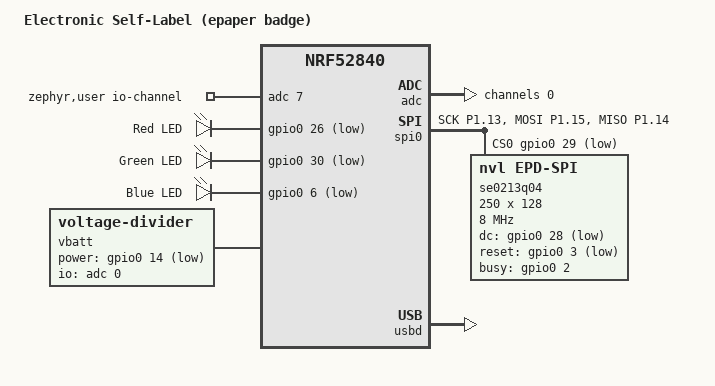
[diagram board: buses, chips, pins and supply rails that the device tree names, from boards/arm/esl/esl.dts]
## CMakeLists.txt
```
cmake_minimum_required(VERSION 3.13.1)

list(APPEND BOARD_ROOT ${CMAKE_CURRENT_LIST_DIR})

# Shortcut to not have to call `west -b`
if (NOT DEFINED ${BOARD})
  set(BOARD esl)
endif()

find_package(Zephyr REQUIRED HINTS $ENV{ZEPHYR_BASE})

project(app)

target_include_directories(app PRIVATE ${CMAKE_BINARY_DIR}/app/include src)

target_sources(app PRIVATE
  src/creep.c
  src/framebuffer.c
  src/main.c)

target_sources_ifdef(CONFIG_UART_EPD app PRIVATE src/epd_serial.c)
target_sources_ifdef(CONFIG_UC8251D  app PRIVATE src/epd_driver.c)
target_sources_ifdef(CONFIG_SPI_NOR  app PRIVATE src/flash.c)
target_sources_ifdef(CONFIG_ADC      app PRIVATE src/adc.c)
```

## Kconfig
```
config UART_EPD
	bool "UART out on (EINK) display"
	default y if SERIAL
	select SERIAL_HAS_DRIVER
	depends on DT_HAS_NVL_EPD_UART_ENABLED
	depends on !CONSOLE_EPD

config UC8251D
	bool "UC8251D display driver"
	default y if DISPLAY
	select DISPLAY_HAS_DRIVER
	select SPI
	depends on DT_HAS_NVL_EPD_SPI_ENABLED

source "Kconfig.zephyr"
```

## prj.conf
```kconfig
CONFIG_LOG_BACKEND_RTT_MODE_OVERWRITE=y
CONFIG_THREAD_MONITOR=y
CONFIG_DEBUG=y

CONFIG_SERIAL=y

# enable display
CONFIG_DISPLAY=y
# CONFIG_DISPLAY_LOG_LEVEL_DBG=y

CONFIG_HEAP_MEM_POOL_SIZE=16384

# CONFIG_LOG_MODE_IMMEDIATE=y
CONFIG_LOG_BUFFER_SIZE=32768
# CONFIG_CFB_LOG_LEVEL_DBG=y
CONFIG_CHARACTER_FRAMEBUFFER=y

# Force printk to go over console
CONFIG_LOG_PRINTK=n
CONFIG_LOG_BACKEND_UART=n

# Enable console on USB UART
CONFIG_CONSOLE=y
CONFIG_UART_CONSOLE=y
CONFIG_RTT_CONSOLE=n

CONFIG_SHELL=y
CONFIG_KERNEL_SHELL=y
CONFIG_SHELL_BACKEND_SERIAL=y
CONFIG_SHELL_BACKEND_SERIAL_INTERRUPT_DRIVEN=n
CONFIG_SHELL_LOG_BACKEND=n

CONFIG_SHELL_VT100_COLORS=n
CONFIG_SHELL_VT100_COMMANDS=y
CONFIG_SHELL_ECHO_STATUS=y
CONFIG_SHELL_DEFAULT_TERMINAL_WIDTH=50
CONFIG_SHELL_DEFAULT_TERMINAL_HEIGHT=10

CONFIG_ASSERT=y
CONFIG_LOG=y
CONFIG_LOG_BACKEND_RTT=y
CONFIG_LOG_BACKEND_SHOW_COLOR=n

CONFIG_INPUT=y
# needs more stack when printk-ing over CDC-ACM
CONFIG_INPUT_THREAD_STACK_SIZE=1024
```

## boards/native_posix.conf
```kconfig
CONFIG_NATIVE_UART_0_ON_OWN_PTY=y

# run exe with `--attach_uart`
CONFIG_UART_NATIVE_WAIT_PTS_READY_ENABLE=y
```

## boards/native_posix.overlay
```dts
/ {
	chosen {
		zephyr,console = &uart0;
		zephyr,shell-uart = &fakeuart;
		zephyr,display = &sdl_dc;
	};

	fakeuart: fake {
		compatible = "nvl,epd-uart";
		status = "okay";
	};
};

&sdl_dc {
	compatible = "zephyr,sdl-dc";
	width = <250>;
	height = <128>;
};
```

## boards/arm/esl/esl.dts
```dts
/dts-v1/;
#include <nordic/nrf52840_qiaa.dtsi>
#include <dt-bindings/input/input-event-codes.h>

/ {
	model = "Electronic Self-Label (epaper badge)";
	compatible = "nordic,esl";

	zephyr,user {
		io-channels = <&adc 7>;
	};

	chosen {
		zephyr,console = &cdc_acm_uart0;
		/* zephyr,console = &fakeuart; */
		zephyr,shell-uart = &fakeuart;
		zephyr,sram = &sram0;
		zephyr,flash = &flash0;
		zephyr,code-partition = &slot0_partition;
		zephyr,display = &se0213q04;
	};

	leds {
		compatible = "gpio-leds";
		status = "okay";
		led0: led_0 {
			gpios = <&gpio0 26 GPIO_ACTIVE_LOW>;
			label = "Red LED";
		};
		led1: led_1 {
			gpios = <&gpio0 30 GPIO_ACTIVE_LOW>;
			label = "Green LED";
		};
		led2: led_2 {
			gpios = <&gpio0 6 GPIO_ACTIVE_LOW>;
			label = "Blue LED";
		};
	};

	fakeuart: fake {
		compatible = "nvl,epd-uart";
		status = "okay";
	};

	vbatt {
		compatible = "voltage-divider";
		io-channels = <&adc 0>;
		output-ohms = <40000>;
		full-ohms = <(27000 + 40000)>;
		power-gpios = <&gpio0 14 GPIO_ACTIVE_LOW>;
	};

	aliases {
		led0 = &led0;
		led1 = &led1;
		led2 = &led2;
		bootloader-led0 = &led0;
		mcuboot-led0 = &led0;
		watchdog0 = &wdt0;
	};
};

&adc {
	status = "okay";

	#address-cells = <1>;
	#size-cells = <0>;

	channel@0 {
		reg = <0>;
		zephyr,gain = "ADC_GAIN_1_6";
		zephyr,reference = "ADC_REF_INTERNAL";
		zephyr,acquisition-time = <ADC_ACQ_TIME_DEFAULT>;
		zephyr,input-positive = <NRF_SAADC_AIN7>;
		zephyr,resolution = <12>;
	};
};

&gpio0 {
	status = "okay";
};

&gpio1 {
	status = "okay";
};

&uart0 {
	/* Disable UART, it isn't connected */
	status = "disabled";
};

&pinctrl {
	spi0_default: spi0_default {
		group1 {
			psels = <NRF_PSEL(SPIM_SCK, 1, 13)>,
				<NRF_PSEL(SPIM_MOSI, 1, 15)>,
				<NRF_PSEL(SPIM_MISO, 1, 14)>;
		};
	};

	spi0_sleep: spi0_sleep {
		group1 {
			psels = <NRF_PSEL(SPIM_SCK, 1, 13)>,
				<NRF_PSEL(SPIM_MOSI, 1, 15)>,
				<NRF_PSEL(SPIM_MISO, 1, 14)>;
			low-power-enable;
		};
	};
};

&spi0 {
	status = "okay";
	/* SPIM broken in upstream. tested ~3mo ago and it works */
	compatible = "nordic,nrf-spi";

	pinctrl-0 = <&spi0_default>;
	pinctrl-1 = <&spi0_sleep>;
	pinctrl-names = "default", "sleep";

	cs-gpios = <&gpio0 29 GPIO_ACTIVE_LOW>;

	se0213q04: epd@0 {
		reg = <0>;
		spi-max-frequency = <8000000>;
		compatible = "nvl,epd-spi";
		width = <250>;
		height = <128>;
        // FIXME: those are hardcoded in utils.h rn
		dc-gpios = <&gpio0 28 GPIO_ACTIVE_LOW>;
		reset-gpios = <&gpio0 3 GPIO_ACTIVE_LOW>;
		busy-gpios = <&gpio0 2 GPIO_ACTIVE_HIGH>;
	};
};

zephyr_udc0: &usbd {
	compatible = "nordic,nrf-usbd";
	status = "okay";

	cdc_acm_uart0: cdc_acm_uart0 {
		compatible = "zephyr,cdc-acm-uart";
	};
};

&flash0 {
	partitions {
		compatible = "fixed-partitions";
		#address-cells = <1>;
		#size-cells = <1>;

		boot_partition: partition@0 {
			label = "mcuboot";
			reg = <0x00000000 0xC000>;
		};
		slot0_partition: partition@C000 {
			label = "image-0";
			reg = <0x0000C000 0x17000>;
		};
		slot1_partition: partition@23000 {
			label = "image-1";
			reg = <0x00023000 0x17000>;
		};
		storage_partition: partition@3a000 {
			label = "storage";
			reg = <0x0003a000 0x00006000>;
		};
	};
};
```

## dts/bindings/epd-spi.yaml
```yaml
description: |
    Temporary SPI epaper bindings

compatible: "nvl,epd-spi"

include: [spi-device.yaml, display-controller.yaml]

properties:
  reset-gpios:
    type: phandle-array
    required: true
    description: RESET pin.

  dc-gpios:
    type: phandle-array
    required: true
    description: Data/Command pin.

  busy-gpios:
    type: phandle-array
    required: true
    description: BUSY pin. Active low.
```

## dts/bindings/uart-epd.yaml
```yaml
description: |
    Fake UART output on e-ink display

compatible: "nvl,epd-uart"

include: [uart-controller.yaml]
```

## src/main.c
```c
#include <zephyr/kernel.h>
#include <zephyr/sys/printk.h>
#include <zephyr/usb/usb_device.h>
#include <zephyr/usb/usbd.h>
#include <zephyr/input/input.h>
#include <zephyr/drivers/led.h>

#include "framebuffer.h"

#include <zephyr/logging/log.h>
LOG_MODULE_REGISTER(main, 4);

void setup_usb(void)
{
#if CONFIG_USB_DEVICE_STACK
	const struct device *dev = DEVICE_DT_GET_ONE(zephyr_cdc_acm_uart);
	if (!device_is_ready(dev)) {
		LOG_ERR("CDC ACM device not ready");
		return;
	}

	int ret = usb_enable(NULL);
	if (ret != 0) {
		LOG_ERR("Failed to enable USB: %d", ret);
		return;
	}
#endif
}

static void input_cb(struct input_event *evt)
{
	/* Don't do anything for now */
	printk("sync %u type %u code 0x%x value %d\n",
	       evt->sync, evt->type, evt->code, evt->value);
}

/* Invoke callback for all input devices */
INPUT_CALLBACK_DEFINE(NULL, input_cb);

void led_test(void)
{
#define LEDS_NODE_ID DT_COMPAT_GET_ANY_STATUS_OKAY(gpio_leds)

	if (IS_ENABLED(CONFIG_NATIVE_APPLICATION)) {
		return;
	}

	const char *led_label[] = {
	DT_FOREACH_CHILD_SEP_VARGS(LEDS_NODE_ID, DT_PROP_OR, (,), label, NULL)};

	const int num_leds = ARRAY_SIZE(led_label);

	const struct device *leds;

	leds = DEVICE_DT_GET(LEDS_NODE_ID);
	if (!device_is_ready(leds)) {
		LOG_ERR("Device %s is not ready", leds->name);
		return;
	}

	if (!num_leds) {
		LOG_ERR("No LEDs found for %s", leds->name);
		return;
	}

	/* Turn on all LEDs */
	for (uint8_t led = 0; led < num_leds; led++) {
		LOG_INF("turn on LED %d", led);
		led_on(leds, led);
		k_msleep(300);
		led_off(leds, led);
	}
}

extern int flashtest(void);
extern int testbatt(void);

static void init_gpio(void)
{
#if !defined(CONFIG_NATIVE_APPLICATION)
	/* TODO: use DTS */
	NRF_P0->DIRSET = BIT(31);
	NRF_P0->OUTSET = BIT(31);
#endif
}

int main(void)
{
	if (IS_ENABLED(CONFIG_ADC)) {
		init_gpio();
		testbatt();
	}

	if (IS_ENABLED(CONFIG_SPI_NOR)) {
		flashtest();
	}

	led_test();

	setup_usb();

	const struct device *dev =
		DEVICE_DT_GET(DT_CHOSEN(zephyr_display));

	framebuffer_setup(dev);

	printk("entering main loop\n");

	/* framebuffer rendering loop */
	while (1) {
		framebuffer_update(dev);
	}

	return 0;
}
```

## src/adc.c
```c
/*
 * Copyright (c) 2020 Libre Solar Technologies GmbH
 *
 * SPDX-License-Identifier: Apache-2.0
 */

#include <inttypes.h>
#include <stddef.h>
#include <stdint.h>

#include <zephyr/device.h>
#include <zephyr/devicetree.h>
#include <zephyr/drivers/adc.h>
#include <zephyr/kernel.h>
#include <zephyr/sys/util.h>

#include <zephyr/logging/log.h>
LOG_MODULE_REGISTER(adece, 4);

#if !DT_NODE_EXISTS(DT_PATH(zephyr_user)) || \
	!DT_NODE_HAS_PROP(DT_PATH(zephyr_user), io_channels)
#error "No suitable devicetree overlay specified"
#endif

#define DT_SPEC_AND_COMMA(node_id, prop, idx) \
	ADC_DT_SPEC_GET_BY_IDX(node_id, idx),

/* Data of ADC io-channels specified in devicetree. */
static const struct adc_dt_spec adc_channels[] = {
	DT_FOREACH_PROP_ELEM(DT_PATH(zephyr_user), io_channels,
			     DT_SPEC_AND_COMMA)
};

int testbatt(void)
{
	int err;
	uint32_t count = 0;
	uint16_t buf;
	struct adc_sequence sequence = {
		.buffer = &buf,
		/* buffer size in bytes, not number of samples */
		.buffer_size = sizeof(buf),
	};

	/* Configure channels individually prior to sampling. */
	for (size_t i = 0U; i < ARRAY_SIZE(adc_channels); i++) {
		if (!adc_is_ready_dt(&adc_channels[i])) {
			LOG_INF("ADC controller device %s not ready", adc_channels[i].dev->name);
			return 0;
		}

		err = adc_channel_setup_dt(&adc_channels[i]);
		if (err < 0) {
			LOG_INF("Could not setup channel #%d (%d)", i, err);
			return 0;
		}
	}

	while (1) {
		LOG_INF("ADC reading[%u]:", count++);
		for (size_t i = 0U; i < ARRAY_SIZE(adc_channels); i++) {
			int32_t val_mv;

			LOG_INF("- %s, channel %d: ",
			       adc_channels[i].dev->name,
			       adc_channels[i].channel_id);

			(void)adc_sequence_init_dt(&adc_channels[i], &sequence);

			err = adc_read(adc_channels[i].dev, &sequence);
			if (err < 0) {
				LOG_INF("Could not read (%d)", err);
				continue;
			}

			/*
			 * If using differential mode, the 16 bit value
			 * in the ADC sample buffer should be a signed 2's
			 * complement value.
			 */
			if (adc_channels[i].channel_cfg.differential) {
				val_mv = (int32_t)((int16_t)buf);
			} else {
				val_mv = (int32_t)buf;
			}
			LOG_INF("%"PRId32, val_mv);
			err = adc_raw_to_millivolts_dt(&adc_channels[i],
						       &val_mv);
			/* conversion to mV may not be supported, skip if not */
			if (err < 0) {
				LOG_INF(" (value in mV not available)");
			} else {
				LOG_INF(" = %"PRId32" mV", val_mv);
			}
		}

		k_sleep(K_MSEC(1000));
	}
	return 0;
}
```

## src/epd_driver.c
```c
#define DT_DRV_COMPAT nvl_epd_spi

#include "epd_main.h"
#include "epd_lut.h"
#include "epd_regs.h"
#include "splash.h"
#include "utils.h"
#include <zephyr/device.h>
#include <zephyr/drivers/display.h>
#include <zephyr/drivers/spi.h>
#include <zephyr/drivers/gpio.h>
#include <nrf.h>

#include <zephyr/logging/log.h>
LOG_MODULE_REGISTER(epd, CONFIG_DISPLAY_LOG_LEVEL);

void epd_write_cmd(uint8_t command);
void epd_write_data(uint8_t data);

#define EPD_WIDTH   128UL
#define EPD_HEIGHT  250UL
#define IMG_BYTES (EPD_WIDTH * EPD_HEIGHT / 8)

static void load_lut_full(void);
static void load_lut_partial(void);
void epd_init(void);
void epd_display_full(const uint8_t* picData);
void epd_display_partial(const uint8_t* picData);
void epd_dsleep(void);
void epd_refresh(void);
void epd_reset(void);

static uint8_t first_image;
static bool blanking;
/* static uint8_t framebuffer[EPD_HEIGHT][EPD_WIDTH/8]; */
static uint8_t framebuffer[EPD_HEIGHT * EPD_WIDTH / 8];

/* using on-board LUTs doesn't work */
/* #define LUT_OTP */

void epd_reset(void)
{
	mgpio_set(DISP_RESET);
	delay_ms(10);

	mgpio_reset(DISP_RESET);
	delay_ms(100);

	mgpio_set(DISP_RESET);
	delay_ms(100);
}

void write_cdi(bool boot)
{
	uint8_t val = boot ? 0xB7 : 0xD7;

	epd_write_cmd(EPD_CMD_CDI);
	epd_write_data(val);
}

void epd_init(void)
{
	uint8_t value;

	first_image = 1;

	epd_write_cmd(EPD_CMD_PSR);
	value = BIT(EPD_PSR_RST_N) |
		BIT(EPD_PSR_SHD_N) |
		/* uncomment to rotate 180deg */
		/* BIT(EPD_PSR_SHL) | */
		/* BIT(EPD_PSR_UD) | */
		BIT(EPD_PSR_KWR) |
		BIT(EPD_PSR_RES0) |
		BIT(EPD_PSR_RES1) ;
#ifndef LUT_OTP
	value |= BIT(EPD_PSR_REG);
#endif
	epd_write_data(value);

	epd_write_cmd(EPD_CMD_PWR);
	epd_write_data(BIT(EPD_PWR_VG_EN) | BIT(EPD_PWR_VS_EN));
	epd_write_data(0x00); /* 20V (default) */
	epd_write_data(0x3F); /* 15V (default) */
	epd_write_data(0x3F); /* 15V (default) */
	epd_write_data(0x03); /* 3V (value shouldn't matter) */

	epd_write_cmd(EPD_CMD_BTST);
	/* phase A & B:
	 * - 6.58uS off time
	 * - strength 5
	 * - 40ms soft-start
	 */
	epd_write_data(0x27);
	epd_write_data(0x27);
	/* phase C:
	 * - 6.58us off time
	 * - strength 6
	 */
	epd_write_data(0x2F);

	epd_write_cmd(EPD_CMD_TRES);
	epd_write_data(EPD_WIDTH);
	epd_write_data(0);
	epd_write_data(EPD_HEIGHT);

	epd_write_cmd(EPD_CMD_GSST);
	epd_write_data(0x00);
	epd_write_data(0x00);
	epd_write_data(0x00);

	write_cdi(true);
}

void epd_display_full(const uint8_t* picData)
{
	epd_write_cmd(EPD_CMD_DTM2);
	epd_write_data_stream((uint8_t*)picData, IMG_BYTES);

	load_lut_full();
	epd_refresh();

	if(first_image) {
		first_image = 0;
		write_cdi(false);
	}
}

void epd_display_partial(const uint8_t* picData)
{
	if(first_image) {
		epd_display_full(picData);
		/* one full refresh is necessary after boot */
		return;
	}

	int64_t t0 = k_uptime_get();
	epd_write_cmd(EPD_CMD_DTM2);
	epd_write_data_stream((uint8_t*)picData, IMG_BYTES);
	int64_t t1 = k_uptime_get();

	load_lut_partial();
	int64_t t2 = k_uptime_get();
	epd_refresh();
	LOG_DBG("data %lldms lut %lldms refresh %lldms", t1-t0, t2-t1, k_uptime_get()-t2);
}

void epd_refresh(void)
{
	epd_write_cmd(EPD_CMD_AUTO);
	epd_write_data(EPD_CMD_ON_REFRESH_OFF);

	while(mgpio_read(DISP_BUSY) == 0) {
		/* around 500ms in partial refresh, >1s for full refresh */
		k_msleep(10);
	}
}

void epd_dsleep(void)
{
	epd_write_cmd (EPD_CMD_DSLP);
	epd_write_data(EPD_DSLP_MAGIC);
}

static void write_lut(uint8_t const **p_lut)
{
	static bool swap = false;
	uint8_t LUT_LEN = 56;

#ifdef LUT_OTP
	return;
#endif

	epd_write_cmd(EPD_CMD_LUTC);
	epd_write_data_stream(p_lut[0], LUT_LEN);

	epd_write_cmd(EPD_CMD_LUTWW);
	epd_write_data_stream(p_lut[1], LUT_LEN);

	epd_write_cmd(EPD_CMD_LUTK);
	epd_write_data_stream(p_lut[4], LUT_LEN);

	if (!swap || first_image) {
		swap = true;

		epd_write_cmd(EPD_CMD_LUTKW);
		epd_write_data_stream(p_lut[2], LUT_LEN);

		epd_write_cmd(EPD_CMD_LUTWK);
		epd_write_data_stream(p_lut[3], LUT_LEN);
	} else {
		swap = false;

		epd_write_cmd(EPD_CMD_LUTWK);
		epd_write_data_stream(p_lut[2], LUT_LEN);

		epd_write_cmd(EPD_CMD_LUTKW);
		epd_write_data_stream(p_lut[3], LUT_LEN);
	}
}

static void load_lut_full(void)
{
	uint8_t const *p_lut_gc[5] = {lut_R20_GC, lut_R21_GC, lut_R22_GC, lut_R23_GC, lut_R24_GC};
	write_lut(p_lut_gc);
}

static void load_lut_partial(void)
{
	uint8_t const *p_lut_du[5] = {lut_R20_DU, lut_R21_DU, lut_R22_DU, lut_R23_DU, lut_R24_DU};
	write_lut(p_lut_du);
}

void epd_write_cmd(uint8_t command)
{
	mgpio_reset(DISP_DC);		/* command */
	mspi_write_byte(command);
	mgpio_set(DISP_DC);
}

void epd_write_data(uint8_t data)
{
	mgpio_set(DISP_DC);		/* data */
	mspi_write_byte(data);
	mgpio_set(DISP_DC);
}

void epd_write_data_stream(const uint8_t *data, size_t len)
{
	#define CHUNK 256
	mgpio_set(DISP_DC);		/* data */
	for (size_t i=0; i<len; ) {
		size_t clen = MIN(CHUNK, len-i);
		mspi_write_buf((uint8_t *)data + i, clen);
		i+=clen;
	}
	mgpio_set(DISP_DC);
}

static int epd_read(const struct device *dev, const uint16_t x, const uint16_t y,
		    const struct display_buffer_descriptor *desc, void *buf)
{
	LOG_ERR("not supported");
	return -ENOTSUP;
}

static void *epd_get_framebuffer(const struct device *dev)
{
	LOG_ERR("not supported");
	return NULL;
}

static int epd_set_brightness(const struct device *dev,
			      const uint8_t brightness)
{
	LOG_WRN("not supported");
	return -ENOTSUP;
}

static int epd_set_contrast(const struct device *dev, uint8_t contrast)
{
	LOG_WRN("not supported");
	return -ENOTSUP;
}

static int epd_set_orientation(const struct device *dev,
			       const enum display_orientation
			       orientation)
{
	LOG_ERR("Unsupported");
	return -ENOTSUP;
}

static int epd_set_pixel_format(const struct device *dev,
				const enum display_pixel_format pf)
{
	if (pf == PIXEL_FORMAT_MONO10) {
		return 0;
	}

	LOG_ERR("not supported");
	return -ENOTSUP;
}

/* EPD seems to use !blanking as `partial refresh` as a convention in zephyr */
static int epd_blanking_off(const struct device *dev)
{
	blanking = false;

	return 0;
}

static int epd_blanking_on(const struct device *dev)
{
	blanking = true;

	return 0;
}

void writeOutPixel(uint8_t *buf, uint32_t x, uint32_t y)
{
    uint32_t p = EPD_WIDTH * y + x;
    buf[p / 8] |= BIT((p & 0x7U));
}

static int epd_write(const struct device *dev, const uint16_t x, const uint16_t y,
		     const struct display_buffer_descriptor *desc,
		     const void *buf)
{
	/* x/y: start of buffer, upper left corner */
	/* TODO: bounds checking */
	/* uint16_t x_end = x + desc->width - 1; */
	/* uint16_t y_end = y + desc->height - 1; */

	LOG_DBG("x %u, y %u, height %u, width %u, pitch %u size %u",
		x, y, desc->height, desc->width, desc->pitch, desc->buf_size);

	__ASSERT(desc->height <= desc->pitch, "Pitch is smaller than width");
	/* lazy. TODO: support partial updates with framebuffer AND with direct write */
	__ASSERT_NO_MSG(desc->width == EPD_HEIGHT);
	__ASSERT_NO_MSG(desc->height == EPD_WIDTH);

	int64_t start = k_uptime_get();
	/* This way we only have to use the OR operation to draw the image */
	memset(framebuffer, 0, sizeof(framebuffer));

	uint8_t const *input = buf;

	/* Transform buffer from landscape V-aligned to portrait H-aligned */
	for (int y=0; y<desc->height; y++) {
		for (int x=0; x<desc->width; x++) {
			uint32_t dy = x;
			uint32_t dx = (desc->height-1) - y;
			if (input[(desc->width) * (y / 8) + x] & BIT((y & 0x7)))
				writeOutPixel(framebuffer, dx, dy);
		}
	}

	int64_t end = k_uptime_get();

	/* LOG_HEXDUMP_WRN(buf, 4000, "buf"); */
	/* LOG_HEXDUMP_WRN(framebuffer, sizeof(framebuffer), "fb"); */

	LOG_DBG("start HW write");
	if (!blanking) {
		epd_display_partial((uint8_t*)framebuffer);
	} else {
		epd_display_full((uint8_t*)framebuffer);
	}
	LOG_DBG("end HW write");
	LOG_DBG("transform %lldms send %lldms", end-start, k_uptime_get()-end);

	return 0;
}

static void epd_get_capabilities(const struct device *dev,
				 struct display_capabilities *caps)
{
	memset(caps, 0, sizeof(struct display_capabilities));
	caps->x_resolution = EPD_HEIGHT;
	caps->y_resolution = EPD_WIDTH;
	caps->supported_pixel_formats = PIXEL_FORMAT_MONO10;
	caps->current_pixel_format = PIXEL_FORMAT_MONO10;
	/* caps->screen_info = SCREEN_INFO_EPD; */
	caps->screen_info = SCREEN_INFO_MONO_MSB_FIRST | SCREEN_INFO_EPD;
	/* CFB module requires SCREEN_INFO_MONO_VTILED to be set to draw text.
	 * This is actually not the case for us, we are HTILED. This forces us
	 * to do extra work and change the orientation on the fly at the time of
	 * write. TODO: fix this upstream.
	 */
	caps->screen_info |= SCREEN_INFO_MONO_VTILED;
}

static struct display_driver_api epd_driver_api = {
	.blanking_on = epd_blanking_on,
	.blanking_off = epd_blanking_off,
	.write = epd_write,
	.read = epd_read,
	.get_framebuffer = epd_get_framebuffer,
	.set_brightness = epd_set_brightness,
	.set_contrast = epd_set_contrast,
	.get_capabilities = epd_get_capabilities,
	.set_pixel_format = epd_set_pixel_format,
	.set_orientation = epd_set_orientation,
};

static void init_gpio(void)
{
	uint32_t outputs = BIT(DISP_DC) | BIT(DISP_RESET);
	uint32_t inputs = BIT(DISP_BUSY);

	NRF_P0->DIRSET = outputs;
	NRF_P0->DIRCLR = inputs;

	/* connect input buffer */
	NRF_P0->PIN_CNF[DISP_BUSY] = 0;
}

#define SPI_OP SPI_OP_MODE_MASTER | SPI_MODE_CPOL | SPI_MODE_CPHA | SPI_WORD_SET(8) | SPI_LINES_SINGLE

const struct spi_dt_spec spi_dev = SPI_DT_SPEC_GET(DT_NODELABEL(se0213q04), SPI_OP, 0);

static void init_spi(void)
{
	if(spi_is_ready_dt(&spi_dev)) {
		LOG_INF("spi initialized");
	} else {
		LOG_ERR("spi not initialized");
		k_panic();
	}
}

void mspi_write_byte(uint8_t byte)
{
	uint8_t buf[1] = {byte};
	const struct spi_buf tx = {.buf = buf, .len = 1};
	const struct spi_buf_set tx_bufs = {.buffers = &tx, .count = 1};

	int err = spi_transceive_dt(&spi_dev, &tx_bufs, NULL);
	if (err) {
		LOG_ERR("SPI transfer failed: %d", err);
		k_panic();
	}
}

void mspi_write_buf(uint8_t *buf, size_t len)
{
	const struct spi_buf tx = {.buf = buf, .len = len};
	const struct spi_buf_set tx_bufs = {.buffers = &tx, .count = 1};

	int err = spi_transceive_dt(&spi_dev, &tx_bufs, NULL);
	if (err) {
		LOG_ERR("SPI transfer failed: %d", err);
		k_panic();
	}
}

static int display_driver_init(const struct device *dev)
{
	ARG_UNUSED(dev);

	init_gpio();
	init_spi();

	epd_reset();
	epd_init();

	return 0;
}

/* TODO:
 * - allow multiple instances
 * - put device on bus
 * - use DTS for config/gpio
 */
DEVICE_DT_INST_DEFINE(0, &display_driver_init,
		      NULL, NULL, NULL,
		      POST_KERNEL, CONFIG_DISPLAY_INIT_PRIORITY,
		      &epd_driver_api);
```

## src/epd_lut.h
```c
#ifndef EPD_LUT_H_
#define EPD_LUT_H_

const unsigned char lut_R20_GC[] = // VCOM 108=80bytes
{
0x01,	0x00,	0x14,	0x14,	0x01,	0x01,	0x00,	0x01,
0x00,	0x00,	0x00,	0x00,	0x00,	0x00,	0x00,	0x00,
0x00,	0x00,	0x00,	0x00,	0x00,	0x00,	0x00,	0x00,
0x00,	0x00,	0x00,	0x00,	0x00,	0x00,	0x00,	0x00,
0x00,	0x00,	0x00,	0x00,	0x00,	0x00,	0x00,	0x00,
0x00,	0x00,	0x00,	0x00,	0x00,	0x00,	0x00,	0x00,
0x00,	0x00,	0x00,	0x00,	0x00,	0x00,	0x00,	0x00,
};
const unsigned char  lut_R21_GC[] = // W2W 78=56bytes
{
0x01,	0x60,	0X14,	0x14,	0x01,	0x01,	0x00,	0x01,
0x00,	0x00,	0x00,	0x00,	0x00,	0x00,	0x00,	0x00,
0x00,	0x00,	0x00,	0x00,	0x00,	0x00,	0x00,	0x00,
0x00,	0x00,	0x00,	0x00,	0x00,	0x00,	0x00,	0x00,
0x00,	0x00,	0x00,	0x00,	0x00,	0x00,	0x00,	0x00,
0x00,	0x00,	0x00,	0x00,	0x00,	0x00,	0x00,	0x00,
0x00,	0x00,	0x00,	0x00,	0x00,	0x00,	0x00,	0x00,
};

const unsigned char  lut_R22_GC[] = // B2W 108=80bytes
{
0x01,	0x60,	0X14,	0X14,	0x01,	0x01,	0x00,	0x01,
0x00,	0x00,	0x00,	0x00,	0x00,	0x00,	0x00,	0x00,
0x00,	0x00,	0x00,	0x00,	0x00,	0x00,	0x00,	0x00,
0x00,	0x00,	0x00,	0x00,	0x00,	0x00,	0x00,	0x00,
0x00,	0x00,	0x00,	0x00,	0x00,	0x00,	0x00,	0x00,
0x00,	0x00,	0x00,	0x00,	0x00,	0x00,	0x00,	0x00,
0x00,	0x00,	0x00,	0x00,	0x00,	0x00,	0x00,	0x00,
};
const unsigned char  lut_R23_GC[] = // W2B 108=80bytes
{
0x01,	0x90,	0X14,	0X14,	0x01,	0x01,	0x00,	0x01,
0x00,	0x00,	0x00,	0x00,	0x00,	0x00,	0x00,	0x00,
0x00,	0x00,	0x00,	0x00,	0x00,	0x00,	0x00,	0x00,
0x00,	0x00,	0x00,	0x00,	0x00,	0x00,	0x00,	0x00,
0x00,	0x00,	0x00,	0x00,	0x00,	0x00,	0x00,	0x00,
0x00,	0x00,	0x00,	0x00,	0x00,	0x00,	0x00,	0x00,
0x00,	0x00,	0x00,	0x00,	0x00,	0x00,	0x00,	0x00,
};
const unsigned char  lut_R24_GC[] = // B2B 108=80bytes
{
0x01,	0x90,	0X14,	0X14,	0x01,	0x01,	0x00,	0x01,
0x00,	0x00,	0x00,	0x00,	0x00,	0x00,	0x00,	0x00,
0x00,	0x00,	0x00,	0x00,	0x00,	0x00,	0x00,	0x00,
0x00,	0x00,	0x00,	0x00,	0x00,	0x00,	0x00,	0x00,
0x00,	0x00,	0x00,	0x00,	0x00,	0x00,	0x00,	0x00,
0x00,	0x00,	0x00,	0x00,	0x00,	0x00,	0x00,	0x00,
0x00,	0x00,	0x00,	0x00,	0x00,	0x00,	0x00,	0x00,
};


// DU 300ms
const unsigned char lut_R20_DU[] = // VCOM 108=80bytes
{
0x01,	0x00,	0X14,	0x01,	0x01,	0x00,	0x00,	0x00,
0x00,	0x00,	0x00,	0x00,	0x00,	0x00,	0x00,	0x00,
0x00,	0x00,	0x00,	0x00,	0x00,	0x00,	0x00,	0x00,
0x00,	0x00,	0x00,	0x00,	0x00,	0x00,	0x00,	0x00,
0x00,	0x00,	0x00,	0x00,	0x00,	0x00,	0x00,	0x00,
0x00,	0x00,	0x00,	0x00,	0x00,	0x00,	0x00,	0x00,
0x00,	0x00,	0x00,	0x00,	0x00,	0x00,	0x00,	0x00,
};
const unsigned char  lut_R21_DU[] = // W2W 78=56bytes
{
0x01,	0x20,	0X14,	0x01,	0x01,	0x00,	0x00,	0x00,
0x00,	0x00,	0x00,	0x00,	0x00,	0x00,	0x00,	0x00,
0x00,	0x00,	0x00,	0x00,	0x00,	0x00,	0x00,	0x00,
0x00,	0x00,	0x00,	0x00,	0x00,	0x00,	0x00,	0x00,
0x00,	0x00,	0x00,	0x00,	0x00,	0x00,	0x00,	0x00,
0x00,	0x00,	0x00,	0x00,	0x00,	0x00,	0x00,	0x00,
0x00,	0x00,	0x00,	0x00,	0x00,	0x00,	0x00,	0x00,
};
const unsigned char  lut_R22_DU[] = // B2W 108=80bytes
{
0x01,	0x80,	0X14,	0x01,	0x01,	0x00,	0x00,	0x00,
0x00,	0x00,	0x00,	0x00,	0x00,	0x00,	0x00,	0x00,
0x00,	0x00,	0x00,	0x00,	0x00,	0x00,	0x00,	0x00,
0x00,	0x00,	0x00,	0x00,	0x00,	0x00,	0x00,	0x00,
0x00,	0x00,	0x00,	0x00,	0x00,	0x00,	0x00,	0x00,
0x00,	0x00,	0x00,	0x00,	0x00,	0x00,	0x00,	0x00,
0x00,	0x00,	0x00,	0x00,	0x00,	0x00,	0x00,	0x00,
};
const unsigned char  lut_R23_DU[] = // W2B 108=80bytes
{
0x01,	0x40,	0X14,	0x01,	0x01,	0x00,	0x00,	0x00,
0x00,	0x00,	0x00,	0x00,	0x00,	0x00,	0x00,	0x00,
0x00,	0x00,	0x00,	0x00,	0x00,	0x00,	0x00,	0x00,
0x00,	0x00,	0x00,	0x00,	0x00,	0x00,	0x00,	0x00,
0x00,	0x00,	0x00,	0x00,	0x00,	0x00,	0x00,	0x00,
0x00,	0x00,	0x00,	0x00,	0x00,	0x00,	0x00,	0x00,
0x00,	0x00,	0x00,	0x00,	0x00,	0x00,	0x00,	0x00,
};
const unsigned char  lut_R24_DU[] = // B2B 108=80bytes
{
0x01,	0x00,	0X14,	0x01,	0x01,	0x00,	0x00,	0x00,
0x00,	0x00,	0x00,	0x00,	0x00,	0x00,	0x00,	0x00,
0x00,	0x00,	0x00,	0x00,	0x00,	0x00,	0x00,	0x00,
0x00,	0x00,	0x00,	0x00,	0x00,	0x00,	0x00,	0x00,
0x00,	0x00,	0x00,	0x00,	0x00,	0x00,	0x00,	0x00,
0x00,	0x00,	0x00,	0x00,	0x00,	0x00,	0x00,	0x00,
0x00,	0x00,	0x00,	0x00,	0x00,	0x00,	0x00,	0x00,
};


#endif // EPD_LUT_H_
```

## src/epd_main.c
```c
#define DT_DRV_COMPAT epd_spi

#include "epd_main.h"
#include "epd_lut.h"
#include "epd_regs.h"
#include "splash.h"
#include "utils.h"
#include <zephyr/device.h>
#include <zephyr/drivers/display.h>
#include <zephyr/drivers/spi.h>
#include <zephyr/drivers/gpio.h>
#include <nrf.h>

#include <zephyr/logging/log.h>
LOG_MODULE_REGISTER(epd, CONFIG_DISPLAY_LOG_LEVEL);

void epd_write_cmd(uint8_t command);
void epd_write_data(uint8_t data);

#define EPD_WIDTH   128UL
#define EPD_HEIGHT  250UL
#define IMG_BYTES (EPD_WIDTH * EPD_HEIGHT / 8)

static void load_lut_full(void);
static void load_lut_partial(void);
void epd_init(void);
void epd_display_full(const uint8_t* picData);
void epd_display_partial(const uint8_t* picData);
void epd_dsleep(void);
void epd_refresh(void);
void epd_reset(void);

static uint8_t first_image;
static bool blanking;
/* static uint8_t framebuffer[EPD_HEIGHT][EPD_WIDTH/8]; */
static uint8_t framebuffer[EPD_HEIGHT * EPD_WIDTH / 8];

/* using on-board LUTs doesn't work */
/* #define LUT_OTP */

/* This won't really be 10ms, as the BUSY line is asserted for a couple 100ms */
#define IMG_DELAY_MS 10
int epd_main(void)
{
	while(1)
	{
		epd_reset();
		epd_init();
		epd_display_full(drawing);
		delay_ms(2000);

		epd_display_full(gImage_2);
		delay_ms(IMG_DELAY_MS);

		for (int i=0; i<3; i++) {
			epd_display_partial(gImage_1);
			delay_ms(IMG_DELAY_MS);
			epd_display_partial(gImage_2);
			delay_ms(IMG_DELAY_MS);
			epd_display_partial(gImage_3);
			delay_ms(IMG_DELAY_MS);
		}

		epd_dsleep();
		delay_ms(IMG_DELAY_MS);
	}
}

void epd_reset(void)
{
	mgpio_set(DISP_RESET);
	delay_ms(10);

	mgpio_reset(DISP_RESET);
	delay_ms(100);

	mgpio_set(DISP_RESET);
	delay_ms(100);
}

void write_cdi(bool boot)
{
	uint8_t val = boot ? 0xB7 : 0xD7;

	epd_write_cmd(EPD_CMD_CDI);
	epd_write_data(val);
}

void epd_init(void)
{
	uint8_t value;

	first_image = 1;

	epd_write_cmd(EPD_CMD_PSR);
	value = BIT(EPD_PSR_RST_N) |
		BIT(EPD_PSR_SHD_N) |
		BIT(EPD_PSR_SHL) |
		BIT(EPD_PSR_UD) |
		BIT(EPD_PSR_KWR) |
		BIT(EPD_PSR_RES0) |
		BIT(EPD_PSR_RES1) ;
#ifndef LUT_OTP
	value |= BIT(EPD_PSR_REG);
#endif
	epd_write_data(value);

	epd_write_cmd(EPD_CMD_PWR);
	epd_write_data(BIT(EPD_PWR_VG_EN) | BIT(EPD_PWR_VS_EN));
	epd_write_data(0x00); /* 20V (default) */
	epd_write_data(0x3F); /* 15V (default) */
	epd_write_data(0x3F); /* 15V (default) */
	epd_write_data(0x03); /* 3V (value shouldn't matter) */

	epd_write_cmd(EPD_CMD_BTST);
	/* phase A & B:
	 * - 6.58uS off time
	 * - strength 5
	 * - 40ms soft-start
	 */
	epd_write_data(0x27);
	epd_write_data(0x27);
	/* phase C:
	 * - 6.58us off time
	 * - strength 6
	 */
	epd_write_data(0x2F);

	epd_write_cmd(EPD_CMD_TRES);
	epd_write_data(EPD_WIDTH);
	epd_write_data(0);
	epd_write_data(EPD_HEIGHT);

	epd_write_cmd(EPD_CMD_GSST);
	epd_write_data(0x00);
	epd_write_data(0x00);
	epd_write_data(0x00);

	write_cdi(true);
}

void epd_display_full(const uint8_t* picData)
{
	epd_write_cmd(EPD_CMD_DTM2);
	epd_write_data_stream((uint8_t*)picData, IMG_BYTES);

	load_lut_full();
	epd_refresh();

	if(first_image) {
		first_image = 0;
		write_cdi(false);
	}
}

void epd_display_partial(const uint8_t* picData)
{
	if(first_image) {
		epd_display_full(picData);
		/* one full refresh is necessary after boot */
		return;
	}

	int64_t t0 = k_uptime_get();
	epd_write_cmd(EPD_CMD_DTM2);
	epd_write_data_stream((uint8_t*)picData, IMG_BYTES);
	int64_t t1 = k_uptime_get();

	load_lut_partial();
	int64_t t2 = k_uptime_get();
	epd_refresh();
	LOG_DBG("data %lldms lut %lldms refresh %lldms", t1-t0, t2-t1, k_uptime_get()-t2);
}

void epd_refresh(void)
{
	epd_write_cmd(EPD_CMD_AUTO);
	epd_write_data(EPD_CMD_ON_REFRESH_OFF);

	while(mgpio_read(DISP_BUSY) == 0) {
		/* around 500ms in partial refresh, >1s for full refresh */
		k_msleep(10);
	}
}

void epd_dsleep(void)
{
	epd_write_cmd (EPD_CMD_DSLP);
	epd_write_data(EPD_DSLP_MAGIC);
}

static void write_lut(uint8_t const **p_lut)
{
	static bool swap = false;
	uint8_t LUT_LEN = 56;

#ifdef LUT_OTP
	return;
#endif

	epd_write_cmd(EPD_CMD_LUTC);
	epd_write_data_stream(p_lut[0], LUT_LEN);

	epd_write_cmd(EPD_CMD_LUTWW);
	epd_write_data_stream(p_lut[1], LUT_LEN);

	epd_write_cmd(EPD_CMD_LUTK);
	epd_write_data_stream(p_lut[4], LUT_LEN);

	if (!swap || first_image) {
		swap = true;

		epd_write_cmd(EPD_CMD_LUTKW);
		epd_write_data_stream(p_lut[2], LUT_LEN);

		epd_write_cmd(EPD_CMD_LUTWK);
		epd_write_data_stream(p_lut[3], LUT_LEN);
	} else {
		swap = false;

		epd_write_cmd(EPD_CMD_LUTWK);
		epd_write_data_stream(p_lut[2], LUT_LEN);

		epd_write_cmd(EPD_CMD_LUTKW);
		epd_write_data_stream(p_lut[3], LUT_LEN);
	}
}

static void load_lut_full(void)
{
	uint8_t const *p_lut_gc[5] = {lut_R20_GC, lut_R21_GC, lut_R22_GC, lut_R23_GC, lut_R24_GC};
	write_lut(p_lut_gc);
}

static void load_lut_partial(void)
{
	uint8_t const *p_lut_du[5] = {lut_R20_DU, lut_R21_DU, lut_R22_DU, lut_R23_DU, lut_R24_DU};
	write_lut(p_lut_du);
}

void epd_write_cmd(uint8_t command)
{
	mgpio_reset(DISP_DC);		/* command */
	mspi_write_byte(command);
	mgpio_set(DISP_DC);
}

void epd_write_data(uint8_t data)
{
	mgpio_set(DISP_DC);		/* data */
	mspi_write_byte(data);
	mgpio_set(DISP_DC);
}

void epd_write_data_stream(const uint8_t *data, size_t len)
{
	#define CHUNK 256
	mgpio_set(DISP_DC);		/* data */
	for (size_t i=0; i<len; ) {
		size_t clen = MIN(CHUNK, len-i);
		mspi_write_buf((uint8_t *)data + i, clen);
		i+=clen;
	}
	mgpio_set(DISP_DC);
}

static int epd_read(const struct device *dev, const uint16_t x, const uint16_t y,
		    const struct display_buffer_descriptor *desc, void *buf)
{
	LOG_ERR("not supported");
	return -ENOTSUP;
}

static void *epd_get_framebuffer(const struct device *dev)
{
	LOG_ERR("not supported");
	return NULL;
}

static int epd_set_brightness(const struct device *dev,
			      const uint8_t brightness)
{
	LOG_WRN("not supported");
	return -ENOTSUP;
}

static int epd_set_contrast(const struct device *dev, uint8_t contrast)
{
	LOG_WRN("not supported");
	return -ENOTSUP;
}

static int epd_set_orientation(const struct device *dev,
			       const enum display_orientation
			       orientation)
{
	LOG_ERR("Unsupported");
	return -ENOTSUP;
}

static int epd_set_pixel_format(const struct device *dev,
				const enum display_pixel_format pf)
{
	if (pf == PIXEL_FORMAT_MONO10) {
		return 0;
	}

	LOG_ERR("not supported");
	return -ENOTSUP;
}

/* EPD seems to use !blanking as `partial refresh` as a convention in zephyr */
static int epd_blanking_off(const struct device *dev)
{
	blanking = false;

	return 0;
}

static int epd_blanking_on(const struct device *dev)
{
	blanking = true;

	return 0;
}

void writeOutPixel(uint8_t *buf, uint32_t x, uint32_t y)
{
    uint32_t p = EPD_WIDTH * y + x;
    buf[p / 8] |= BIT((p & 0x7U));
}

static int epd_write(const struct device *dev, const uint16_t x, const uint16_t y,
		     const struct display_buffer_descriptor *desc,
		     const void *buf)
{
	/* x/y: start of buffer, upper left corner */
	/* TODO: bounds checking */
	/* uint16_t x_end = x + desc->width - 1; */
	/* uint16_t y_end = y + desc->height - 1; */

	LOG_DBG("x %u, y %u, height %u, width %u, pitch %u size %u",
		x, y, desc->height, desc->width, desc->pitch, desc->buf_size);

	__ASSERT(desc->height <= desc->pitch, "Pitch is smaller than width");
	/* lazy. TODO: support partial updates with framebuffer AND with direct write */
	__ASSERT_NO_MSG(desc->width == EPD_HEIGHT);
	__ASSERT_NO_MSG(desc->height == EPD_WIDTH);

	int64_t start = k_uptime_get();
	/* This way we only have to use the OR operation to draw the image */
	memset(framebuffer, 0, sizeof(framebuffer));

	uint8_t const *input = buf;

	/* Transform buffer from landscape V-aligned to portrait H-aligned */
	for (int y=0; y<desc->height; y++) {
		for (int x=0; x<desc->width; x++) {
			uint32_t dy = x;
			uint32_t dx = (desc->height-1) - y;
			if (input[(desc->width) * (y / 8) + x] & BIT((y & 0x7)))
				writeOutPixel(framebuffer, dx, dy);
		}
	}

	int64_t end = k_uptime_get();

	/* LOG_HEXDUMP_WRN(buf, 4000, "buf"); */
	/* LOG_HEXDUMP_WRN(framebuffer, sizeof(framebuffer), "fb"); */

	LOG_DBG("start HW write");
	if (!blanking) {
		epd_display_partial((uint8_t*)framebuffer);
	} else {
		epd_display_full((uint8_t*)framebuffer);
	}
	LOG_DBG("end HW write");
	LOG_DBG("transform %lldms send %lldms", end-start, k_uptime_get()-end);

	return 0;
}

static void epd_get_capabilities(const struct device *dev,
				 struct display_capabilities *caps)
{
	memset(caps, 0, sizeof(struct display_capabilities));
	caps->x_resolution = EPD_HEIGHT;
	caps->y_resolution = EPD_WIDTH;
	caps->supported_pixel_formats = PIXEL_FORMAT_MONO10;
	caps->current_pixel_format = PIXEL_FORMAT_MONO10;
	/* caps->screen_info = SCREEN_INFO_EPD; */
	caps->screen_info = SCREEN_INFO_MONO_MSB_FIRST | SCREEN_INFO_EPD;
	/* CFB module requires SCREEN_INFO_MONO_VTILED to be set to draw text.
	 * This is actually not the case for us, we are HTILED. This forces us
	 * to do extra work and change the orientation on the fly at the time of
	 * write. TODO: fix this upstream.
	 */
	caps->screen_info |= SCREEN_INFO_MONO_VTILED;
}

static struct display_driver_api epd_driver_api = {
	.blanking_on = epd_blanking_on,
	.blanking_off = epd_blanking_off,
	.write = epd_write,
	.read = epd_read,
	.get_framebuffer = epd_get_framebuffer,
	.set_brightness = epd_set_brightness,
	.set_contrast = epd_set_contrast,
	.get_capabilities = epd_get_capabilities,
	.set_pixel_format = epd_set_pixel_format,
	.set_orientation = epd_set_orientation,
};

static void init_gpio(void)
{
	uint32_t outputs = BIT(DISP_DC) | BIT(DISP_RESET);
	uint32_t inputs = BIT(DISP_BUSY);

	NRF_P0->DIRSET = outputs;
	NRF_P0->DIRCLR = inputs;

	/* connect input buffer */
	NRF_P0->PIN_CNF[DISP_BUSY] = 0;
}

#define SPI_OP SPI_OP_MODE_MASTER | SPI_MODE_CPOL | SPI_MODE_CPHA | SPI_WORD_SET(8) | SPI_LINES_SINGLE

const struct spi_dt_spec spi_dev = SPI_DT_SPEC_GET(DT_NODELABEL(se0213q04), SPI_OP, 0);

static void init_spi(void)
{
	if(spi_is_ready_dt(&spi_dev)) {
		LOG_INF("spi initialized");
	} else {
		LOG_ERR("spi not initialized");
		k_panic();
	}
}

void mspi_write_byte(uint8_t byte)
{
	uint8_t buf[1] = {byte};
	const struct spi_buf tx = {.buf = buf, .len = 1};
	const struct spi_buf_set tx_bufs = {.buffers = &tx, .count = 1};

	int err = spi_transceive_dt(&spi_dev, &tx_bufs, NULL);
	if (err) {
		LOG_ERR("SPI transfer failed: %d", err);
		k_panic();
	}
}

void mspi_write_buf(uint8_t *buf, size_t len)
{
	const struct spi_buf tx = {.buf = buf, .len = len};
	const struct spi_buf_set tx_bufs = {.buffers = &tx, .count = 1};

	int err = spi_transceive_dt(&spi_dev, &tx_bufs, NULL);
	if (err) {
		LOG_ERR("SPI transfer failed: %d", err);
		k_panic();
	}
}

static int display_driver_init(const struct device *dev)
{
	ARG_UNUSED(dev);

	init_gpio();
	init_spi();

	epd_reset();
	epd_init();

	return 0;
}

/* TODO:
 * - allow multiple instances
 * - put device on bus
 * - use DTS for config/gpio
 */
DEVICE_DT_INST_DEFINE(0, &display_driver_init,
		      NULL, NULL, NULL,
		      POST_KERNEL, CONFIG_DISPLAY_INIT_PRIORITY,
		      &epd_driver_api);
```

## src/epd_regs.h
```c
#ifndef EPD_REGS_H_
#define EPD_REGS_H_

#define EPD_CMD_PSR 0x00
enum {
	EPD_PSR_RST_N = 0,	/* 1: reset 0: no reset */
	EPD_PSR_SHD_N,		/* 1: booster on */
	EPD_PSR_SHL,		/* 1: shift dir right */
	EPD_PSR_UD,		/* 1: scan dir up */
	EPD_PSR_KWR,		/* 1: b/w 0: b/w/r */
	EPD_PSR_REG,		/* 1: LUT from register 0: OTP */
	EPD_PSR_RES0,		/* resolution lsb */
	EPD_PSR_RES1,		/* resolution msb */
} EPD_PSR;
/* resolutions:
 * - 0b00: 96x230
 * - 0b01: 96x252
 * - 0b10: 128x296
 * - 0b11: 160x296
 */

#define EPD_CMD_PWR 0x01
enum {
	EPD_PWR_VG_EN = 0,	/* 1: internal DCDC for VSH/L */
	EPD_PWR_VS_EN,		/* 1: internal DCDC for VGH/L */
} EPD_PWR;
/* 5 bytes of data. Next 4 bytes:
 * - VGHL_LV[3:0]: 20V - [value]
 * - VSH[5:0]
 * - VSL[5:0]
 * - VDHR[5:0] (red pixels)
 * */

/* Power off sequence setting */
#define EPD_CMD_PFS 0x03
#define EPD_PFS_T 4
/* T_VDS_OFF[1:0]: t_off
 * - 0b00: 1 frame (default)
 * - 0b01: 2 frames
 * - 0b10: 3 frames
 * - 0b11: 4 frames
 */

/* Booster soft-start */
#define EPD_CMD_BTST 0x06
/* 3 bytes, see datasheet */

/* PLL control */
#define EPD_CMD_PLL 0x30
/* 1 byte, see datasheet */

#define EPD_CMD_TCON 0x60
/* 1 byte, see datasheet */

#define EPD_CMD_VCDS 0x82

/* Power saving (during refresh) */
#define EPD_CMD_PWS 0xe3

/* Temperature sensor enable */
#define EPD_CMD_TSE 0x41
#define EPD_TSE_TSE 7		/* 1: external sensor */
/* TO[3:0] temp offset in C (2s compl) */

/* Resolution setting, overrides PSR */
#define EPD_CMD_TRES 0x61
/* 1st byte:
 * - HRES[7:0] horiz res (x10)
 * 2nd + 3rd bytes:
 * - VRES[8:0] vert res
 */

/* Resolution start gate/source position */
#define EPD_CMD_GSST 0x65
/* 3 bytes, same sch as TRES */

/* VCOM and Data interval */
#define EPD_CMD_CDI 0x50
/* - CDI[3:0]
 * - DDX[1:0]
 * - VBD[1:0]
 * see datasheet
 */

#define EPD_CMD_DSLP 0x07
#define EPD_DSLP_MAGIC 0xa5

/* Data start transmission 2 */
#define EPD_CMD_DTM2 0x13

/* Auto sequence */
#define EPD_CMD_AUTO 0x17
#define EPD_CMD_ON_REFRESH_OFF 0xa5
#define EPD_CMD_ON_REFRESH_OFF_DSLEEP 0xa7

/* VCOM LUT */
#define EPD_CMD_LUTC 0x20
/* 81-byte command */

/* W2W LUT */
#define EPD_CMD_LUTWW 0x21
/* 57-byte command */

/* B2W LUT */
#define EPD_CMD_LUTKW 0x22
/* 81-byte command */

/* W2B LUT */
#define EPD_CMD_LUTWK 0x23
/* 81-byte command */

/* B2B LUT */
#define EPD_CMD_LUTK 0x24

#endif // EPD_REGS_H_
```

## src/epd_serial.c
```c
#include <zephyr/kernel.h>
#include <zephyr/drivers/uart.h>
#include "framebuffer.h"

#define DT_DRV_COMPAT nvl_epd_uart

static int uart_epd_init(const struct device *dev)
{
	/* TODO: we might want to init the framebuffer + the display driver here */
	framebuffer_reset();

	return 0;
}

static int uart_epd_poll_in(const struct device *dev, unsigned char *c)
{
	/* Use console UART as input device for now */
	const struct device *const console = DEVICE_DT_GET(DT_CHOSEN(zephyr_console));

	return uart_poll_in(console, c);
}

extern int esl_cfb_out(int c);
static void uart_epd_poll_out(const struct device *dev, unsigned char c)
{
	framebuffer_write_char(c);
}

static const struct uart_driver_api uart_epd_driver_api = {
	.poll_in = uart_epd_poll_in,
	.poll_out = uart_epd_poll_out,
};

DEVICE_DT_INST_DEFINE(0,
		      uart_epd_init,
		      NULL,
		      NULL,
		      NULL,
		      /* Initialize UART device before UART console. */
		      PRE_KERNEL_1,
		      CONFIG_SERIAL_INIT_PRIORITY,
		      &uart_epd_driver_api);
```

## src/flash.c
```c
/*
 * Copyright (c) 2016 Intel Corporation.
 *
 * SPDX-License-Identifier: Apache-2.0
 */

#include <zephyr/kernel.h>
#include <zephyr/drivers/flash.h>
#include <zephyr/device.h>
#include <zephyr/devicetree.h>
#include <stdio.h>
#include <string.h>

#include <zephyr/logging/log.h>
LOG_MODULE_REGISTER(fl, 4);

#define SPI_FLASH_TEST_REGION_OFFSET 0xff000
#define SPI_FLASH_SECTOR_SIZE        4096

void single_sector_test(const struct device *flash_dev)
{
	const uint8_t expected[] = { 0x55, 0xaa, 0x66, 0x99 };
	const size_t len = sizeof(expected);
	uint8_t buf[sizeof(expected)];
	int rc;

	LOG_INF("Perform test on single sector");
	/* Write protection needs to be disabled before each write or
	 * erase, since the flash component turns on write protection
	 * automatically after completion of write and erase
	 * operations.
	 */
	LOG_INF("Test 1: Flash erase");

	/* Full flash erase if SPI_FLASH_TEST_REGION_OFFSET = 0 and
	 * SPI_FLASH_SECTOR_SIZE = flash size
	 */
	rc = flash_erase(flash_dev, SPI_FLASH_TEST_REGION_OFFSET,
			 SPI_FLASH_SECTOR_SIZE);
	if (rc != 0) {
		LOG_INF("Flash erase failed! %d", rc);
	} else {
		LOG_INF("Flash erase succeeded!");
	}

	LOG_INF("Test 2: Flash write");

	LOG_INF("Attempting to write %zu bytes", len);
	rc = flash_write(flash_dev, SPI_FLASH_TEST_REGION_OFFSET, expected, len);
	if (rc != 0) {
		LOG_INF("Flash write failed! %d", rc);
		return;
	}

	memset(buf, 0, len);
	rc = flash_read(flash_dev, SPI_FLASH_TEST_REGION_OFFSET, buf, len);
	if (rc != 0) {
		LOG_INF("Flash read failed! %d", rc);
		return;
	}

	if (memcmp(expected, buf, len) == 0) {
		LOG_INF("Data read matches data written. Good!!");
	} else {
		const uint8_t *wp = expected;
		const uint8_t *rp = buf;
		const uint8_t *rpe = rp + len;

		LOG_INF("Data read does not match data written!!");
		while (rp < rpe) {
			LOG_INF("%08x wrote %02x read %02x %s",
			       (uint32_t)(SPI_FLASH_TEST_REGION_OFFSET + (rp - buf)),
			       *wp, *rp, (*rp == *wp) ? "match" : "MISMATCH");
			++rp;
			++wp;
		}
	}
}

int flashtest(void)
{
	const struct device *flash_dev = DEVICE_DT_GET(DT_ALIAS(spi_flash0));

	if (!device_is_ready(flash_dev)) {
		printk("%s: device not ready.", flash_dev->name);
		return 0;
	}

	LOG_INF("%s SPI flash testing", flash_dev->name);
	LOG_INF("==========================");

	single_sector_test(flash_dev);

	return 0;
}
```

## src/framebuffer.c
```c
#include <zephyr/kernel.h>
#include <zephyr/device.h>
#include <zephyr/display/cfb.h>

#include "framebuffer.h"

#include <zephyr/logging/log.h>
LOG_MODULE_REGISTER(fb, 4);

/* calibrated for creep.ttf */
#define FWIDTH 5
#define FHEIGHT 12		/* kde says 11 */

/* TODO: use DTS to fetch this */
#define MAXLINE (128 / 12)	/* 10 */
#define MAXCOL (250 / 5)	/* 50 */

/* This could be k_malloc'd to be dynamic */
static char cbuf[MAXLINE][MAXCOL + 1] = {0};

int framebuffer_setup(const struct device *dev)
{
	uint16_t rows;
	uint8_t ppt;
	uint8_t font_width;
	uint8_t font_height;

	if (!device_is_ready(dev)) {
		LOG_ERR("Device %s not ready", dev->name);
		return -ENODEV;
	}

	if (display_set_pixel_format(dev, PIXEL_FORMAT_MONO10) != 0) {
		LOG_ERR("Failed to set required pixel format");
		return -EINVAL;
	}

	LOG_INF("Initialized %s", dev->name);

	if (cfb_framebuffer_init(dev)) {
		LOG_ERR("Framebuffer initialization failed!");
		return -EIO;
	}

	cfb_framebuffer_clear(dev, true);

	display_blanking_off(dev);

	rows = cfb_get_display_parameter(dev, CFB_DISPLAY_ROWS);
	ppt = cfb_get_display_parameter(dev, CFB_DISPLAY_PPT);

	for (int idx = 0; idx < 2; idx++) {
		if (cfb_get_font_size(dev, idx, &font_width, &font_height)) {
			break;
		}
		cfb_framebuffer_set_font(dev, idx);
		LOG_INF("font width %d, font height %d",
		       font_width, font_height);
		break;		/* use the first (smallest) font */
	}

	LOG_INF("x_res %d, y_res %d, ppt %d, rows %d, cols %d",
	       cfb_get_display_parameter(dev, CFB_DISPLAY_WIDTH),
	       cfb_get_display_parameter(dev, CFB_DISPLAY_HEIGH),
	       ppt,
	       rows,
	       cfb_get_display_parameter(dev, CFB_DISPLAY_COLS));

	LOG_INF("setup ok\n");

	return 0;
}

void framebuffer_update(const struct device *dev)
{
	cfb_framebuffer_clear(dev, false);

	/* cfb takes a string as input */
	cbuf[MAXLINE-1][MAXCOL] = '\0';

	/* draw each line */
	for (int line = 0; line < MAXLINE; line++) {
		cfb_draw_text(dev, cbuf[line], 0, line * FHEIGHT);
	}

	/* write rendered framebuffer to display */
	cfb_framebuffer_finalize(dev);

	if (IS_ENABLED(CONFIG_NATIVE_APPLICATION)) {
		/* The real display takes ~600ms to update. The SDL-based
		 * emulated display on native builds will take 0 (zephyr)
		 * time.
		 *
		 * We need to sleep a bit to allow the native platform and
		 * display to do its bookkeeping.
		 */
		k_msleep(100);
	}
}

static void scroll_up(void)
{
	for (int line = 0; line < (MAXLINE-1); line++) {
		memcpy(cbuf[line], cbuf[line + 1], MAXCOL);
	}
	memset(cbuf[MAXLINE-1], ' ', MAXCOL);
}

bool is_number(int c)
{
	return (c >= '0') && (c <= '9');
}

bool is_letter(int c)
{
	return ((c >= 'A') && (c <= 'Z')) ||
		((c >= 'a') && (c <= 'z'));
}

struct fb_state {
	uint32_t col;
	uint32_t line;
	bool vt100;
};

static struct fb_state fb;

void handle_vt100(int c)
{
	static int vt_r0 = 0;

	if (c == '[') {
		/* start of sequence.
		 * todo: assert first char after ESC */
		return;
	}

	if (is_number(c)) {
		vt_r0 *= 10;
		vt_r0 += c - '0';
		return;
	}

	/* todo: switch */
	if (is_letter(c)) {
		if (c == 'C') {
			/* advance cursor position */
			fb.vt100 = false;
			LOG_DBG("VT:advance-%d\n", vt_r0);
			for (int i=0; i<vt_r0; i++) framebuffer_write_char(' ');
		}
		/* eat the char */
	}

	fb.vt100 = false;
	vt_r0 = 0;
}

int framebuffer_write_char(int c)
{
	LOG_DBG("%02x(%c) ", c, c);
	switch (c) {
		case '\e':
			fb.vt100 = true;
			LOG_DBG("`vt`");
			break;
		case '\n':
			fb.line++;
			fb.col = 0;
			LOG_DBG("\n");
		case '\r':
			fb.col = 0;
			break;
		default:
			if (fb.vt100) {
				handle_vt100(c);
				return c;
			} else {
				cbuf[fb.line][fb.col] = c;
				fb.col++;
			}
	}

	if (fb.col >= MAXCOL-1) {
		fb.line++;
		fb.col = 0;
	}

	if (fb.line >= MAXLINE && fb.col == 0) {
		fb.line = MAXLINE-1;
		scroll_up();
		LOG_DBG("\n###\n");
	}

	return c;
}

void framebuffer_reset(void)
{
	memset(cbuf, ' ', sizeof(cbuf) - 1);

	/* first line is half cut off */
	framebuffer_write_char('\n');
}
```

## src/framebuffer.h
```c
#ifndef FRAMEBUFFER_H_
#define FRAMEBUFFER_H_

#include <zephyr/device.h>

/* Initialize the text framebuffer */
int framebuffer_setup(const struct device *dev);

/* Update the display with the current FB contents */
void framebuffer_update(const struct device *dev);

/* Write a single character to the FB */
int framebuffer_write_char(int c);

/* Clears the framebuffer and its internal state.
 *
 * This function can be called before `framebuffer_setup` to allow buffering of
 * characters before the display driver is initialized.
 */
void framebuffer_reset(void);

#endif // FRAMEBUFFER_H_
```

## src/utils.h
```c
#include <nrf.h>
#include <stdbool.h>
#include <stdint.h>
#include <zephyr/kernel.h>

#ifndef UTILS_H_
#define UTILS_H_

#define DISP_DC 28
#define DISP_RESET 3
#define DISP_BUSY 2

static inline void mgpio_set(uint32_t bit)
{
	NRF_P0->OUTSET = BIT(bit);
}

static inline void mgpio_reset(uint32_t bit)
{
	NRF_P0->OUTCLR = BIT(bit);
}

static inline bool mgpio_read(uint32_t bit)
{
	return NRF_P0->IN & BIT(bit);
}

#define delay_us(d) k_busy_wait(d)
#define delay_ms(d) k_msleep(d)
#define DELAY_S(d) k_sleep(K_SECONDS(d))

void mspi_write_byte(uint8_t byte);
void mspi_write_buf(uint8_t *buf, size_t len);
void epd_write_data_stream(const uint8_t *data, size_t len);

#endif // UTILS_H_
```
